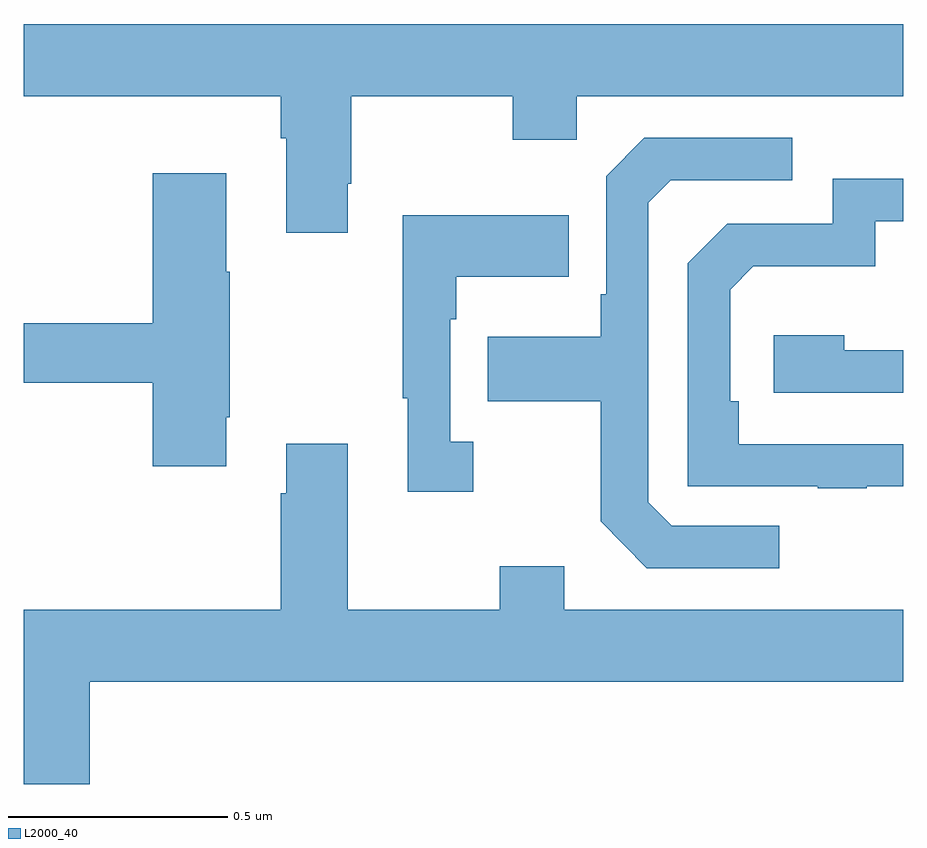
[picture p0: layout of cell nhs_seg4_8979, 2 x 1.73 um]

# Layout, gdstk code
import gdstk
lib = gdstk.Library(unit=1e-6, precision=1e-09)
def P(c, l, *ps):  # polygons
    for p in ps: c.add(gdstk.Polygon(p, *l))
L2000_40 = (2000, 40)

nhs_seg4_8979 = lib.new_cell('nhs_seg4_8979')
P(nhs_seg4_8979, L2000_40, [(221,819.464),(221.585,819.464),(221.585,819.368),(221.597,819.368),(221.597,819.153),(221.737,819.153),(221.737,819.265),(221.745,819.265),(221.745,819.464),(222.112,819.464),(222.112,819.365),(222.258,819.365),(222.258,819.464),(223,819.464),(223,819.628),(221,819.628)],
  [(222.718,818.487),(222.474,818.487),(222.42,818.541),(222.42,819.222),(222.471,819.273),(222.748,819.273),(222.748,819.369),(222.411,819.369),(222.324,819.282),(222.324,819.013),(222.312,819.013),(222.312,818.917),(222.055,818.917),(222.055,818.77),(222.312,818.77),(222.312,818.497),(222.417,818.391),(222.718,818.391)],
  [(221.461,818.734),(221.469,818.734),(221.469,819.065),(221.461,819.065),(221.461,819.289),(221.294,819.289),(221.294,818.948),(221,818.948),(221,818.812),(221.294,818.812),(221.294,818.622),(221.461,818.622)],
  [(222.917,818.577),(223,818.577),(223,818.673),(222.626,818.673),(222.626,818.77),(222.606,818.77),(222.606,819.024),(222.659,819.077),(222.936,819.077),(222.936,819.18),(223,819.18),(223,819.276),(222.84,819.276),(222.84,819.174),(222.6,819.174),(222.51,819.084),(222.51,818.577),(222.805,818.577),(222.805,818.572),(222.917,818.572)],
  [(222.022,818.678),(221.97,818.678),(221.97,818.957),(221.983,818.957),(221.983,819.053),(222.239,819.053),(222.239,819.193),(221.862,819.193),(221.862,818.777),(221.873,818.777),(221.873,818.565),(222.022,818.565)],
  [(223,818.886),(222.866,818.886),(222.866,818.92),(222.705,818.92),(222.705,818.79),(223,818.79)],
  [(221.15,818.132),(223,818.132),(223,818.296),(222.229,818.296),(222.229,818.395),(222.082,818.395),(222.082,818.296),(221.737,818.296),(221.737,818.674),(221.597,818.674),(221.597,818.561),(221.585,818.561),(221.585,818.296),(221,818.296),(221,817.9),(221.15,817.9)])

lib.write_gds('nhs_seg4_8979.gds')
